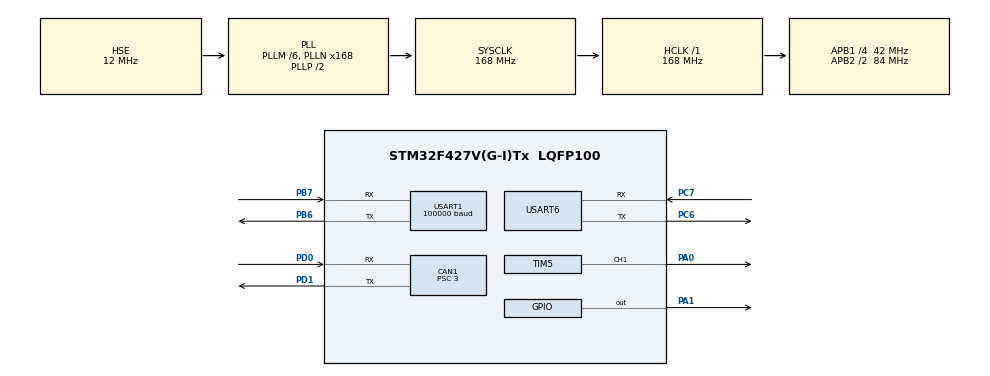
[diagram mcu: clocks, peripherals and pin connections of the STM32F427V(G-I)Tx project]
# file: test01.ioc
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CAN1.ABOM=ENABLE
CAN1.BS1=CAN_BS1_9TQ
CAN1.BS2=CAN_BS2_4TQ
CAN1.CalculateTimeQuantum=71.42857142857143
CAN1.Prescaler=3
Dma.Request0=USART6_RX
Dma.Request1=USART6_TX
Dma.Request2=USART1_RX
Dma.Request3=USART1_TX
Dma.USART1_RX.2.Direction=DMA_PERIPH_TO_MEMORY
Dma.USART1_RX.2.FIFOMode=DMA_FIFOMODE_DISABLE
Dma.USART1_RX.2.Instance=DMA2_Stream2
Dma.USART1_RX.2.MemDataAlignment=DMA_MDATAALIGN_BYTE
Dma.USART1_RX.2.MemInc=DMA_MINC_ENABLE
Dma.USART1_RX.2.Mode=DMA_CIRCULAR
Dma.USART1_RX.2.PeriphDataAlignment=DMA_PDATAALIGN_BYTE
Dma.USART1_RX.2.PeriphInc=DMA_PINC_DISABLE
Dma.USART1_RX.2.Priority=DMA_PRIORITY_LOW
Dma.USART1_TX.3.Direction=DMA_MEMORY_TO_PERIPH
Dma.USART1_TX.3.FIFOMode=DMA_FIFOMODE_DISABLE
Dma.USART1_TX.3.Instance=DMA2_Stream7
Dma.USART1_TX.3.MemDataAlignment=DMA_MDATAALIGN_BYTE
Dma.USART1_TX.3.MemInc=DMA_MINC_ENABLE
Dma.USART1_TX.3.Mode=DMA_CIRCULAR
Dma.USART1_TX.3.PeriphDataAlignment=DMA_PDATAALIGN_BYTE
Dma.USART1_TX.3.PeriphInc=DMA_PINC_DISABLE
Dma.USART1_TX.3.Priority=DMA_PRIORITY_LOW
Dma.USART6_RX.0.Direction=DMA_PERIPH_TO_MEMORY
Dma.USART6_RX.0.FIFOMode=DMA_FIFOMODE_DISABLE
Dma.USART6_RX.0.Instance=DMA2_Stream1
Dma.USART6_RX.0.MemDataAlignment=DMA_MDATAALIGN_BYTE
Dma.USART6_RX.0.MemInc=DMA_MINC_ENABLE
Dma.USART6_RX.0.Mode=DMA_NORMAL
Dma.USART6_RX.0.PeriphDataAlignment=DMA_PDATAALIGN_BYTE
Dma.USART6_RX.0.PeriphInc=DMA_PINC_DISABLE
Dma.USART6_RX.0.Priority=DMA_PRIORITY_LOW
Dma.USART6_TX.1.Direction=DMA_MEMORY_TO_PERIPH
Dma.USART6_TX.1.FIFOMode=DMA_FIFOMODE_DISABLE
Dma.USART6_TX.1.Instance=DMA2_Stream6
Dma.USART6_TX.1.MemDataAlignment=DMA_MDATAALIGN_BYTE
Dma.USART6_TX.1.MemInc=DMA_MINC_ENABLE
Dma.USART6_TX.1.Mode=DMA_NORMAL
Dma.USART6_TX.1.PeriphDataAlignment=DMA_PDATAALIGN_BYTE
Dma.USART6_TX.1.PeriphInc=DMA_PINC_DISABLE
Dma.USART6_TX.1.Priority=DMA_PRIORITY_LOW
Mcu.Family=STM32F4
Mcu.Name=STM32F427V(G-I)Tx
Mcu.Package=LQFP100
NVIC.CAN1_RX0_IRQn=true\:0\:0\:false\:false\:true\:true\:true
NVIC.CAN1_TX_IRQn=true\:0\:0\:false\:false\:true\:true\:true
NVIC.DMA2_Stream1_IRQn=true\:0\:0\:false\:false\:true\:false\:true
NVIC.DMA2_Stream2_IRQn=true\:0\:0\:false\:false\:true\:false\:true
NVIC.DMA2_Stream6_IRQn=true\:0\:0\:false\:false\:true\:false\:true
NVIC.DMA2_Stream7_IRQn=true\:0\:0\:false\:false\:true\:false\:true
NVIC.PriorityGroup=NVIC_PRIORITYGROUP_4
NVIC.TIM1_UP_TIM10_IRQn=true\:0\:0\:false\:false\:true\:true\:true
NVIC.TIM2_IRQn=true\:0\:0\:false\:false\:true\:true\:true
NVIC.TIM4_IRQn=true\:0\:0\:false\:false\:true\:true\:true
NVIC.TIM5_IRQn=true\:0\:0\:false\:false\:true\:true\:true
NVIC.USART1_IRQn=true\:0\:0\:false\:false\:true\:true\:true
NVIC.USART6_IRQn=true\:0\:0\:false\:false\:true\:true\:true
PA0/WKUP.Signal=S_TIM5_CH1
PA1.GPIO_ModeDefaultOutputPP=GPIO_MODE_OUTPUT_PP
PA1.GPIO_PuPd=GPIO_PULLUP
PA1.GPIO_Speed=GPIO_SPEED_FREQ_HIGH
PA1.PinState=GPIO_PIN_SET
PA1.Signal=GPIO_Output
PA13.Mode=Serial_Wire
PA13.Signal=SYS_JTMS-SWDIO
PA14.Mode=Serial_Wire
PA14.Signal=SYS_JTCK-SWCLK
PB6.Mode=Asynchronous
PB6.Signal=USART1_TX
PB7.Mode=Asynchronous
PB7.Signal=USART1_RX
PC14/OSC32_IN.Mode=LSE-External-Oscillator
PC14/OSC32_IN.Signal=RCC_OSC32_IN
PC15/OSC32_OUT.Mode=LSE-External-Oscillator
PC15/OSC32_OUT.Signal=RCC_OSC32_OUT
PC6.Mode=Asynchronous
PC6.Signal=USART6_TX
PC7.Mode=Asynchronous
PC7.Signal=USART6_RX
PD0.Mode=Master
PD0.Signal=CAN1_RX
PD1.Mode=Master
PD1.Signal=CAN1_TX
PH0/OSC_IN.Mode=HSE-External-Oscillator
PH0/OSC_IN.Signal=RCC_OSC_IN
PH1/OSC_OUT.Mode=HSE-External-Oscillator
PH1/OSC_OUT.Signal=RCC_OSC_OUT
ProjectManager.HeapSize=0x200
ProjectManager.StackSize=0x400
ProjectManager.TargetToolchain=MDK-ARM V5.27
RCC.48MHZClocksFreq_Value=84000000
RCC.AHBFreq_Value=168000000
RCC.APB1CLKDivider=RCC_HCLK_DIV4
RCC.APB1Freq_Value=42000000
RCC.APB1TimFreq_Value=84000000
RCC.APB2CLKDivider=RCC_HCLK_DIV2
RCC.APB2Freq_Value=84000000
RCC.APB2TimFreq_Value=168000000
RCC.CortexFreq_Value=168000000
RCC.HCLKFreq_Value=168000000
RCC.HSE_VALUE=12000000
RCC.HSI_VALUE=16000000
RCC.PLLM=6
RCC.PLLN=168
RCC.PLLSourceVirtual=RCC_PLLSOURCE_HSE
RCC.SYSCLKFreq_VALUE=168000000
RCC.SYSCLKSource=RCC_SYSCLKSOURCE_PLLCLK
RCC.VCOOutputFreq_Value=336000000
SH.S_TIM5_CH1.0=TIM5_CH1,PWM Generation1 CH1
TIM1.AutoReloadPreload=TIM_AUTORELOAD_PRELOAD_DISABLE
TIM1.Period=8899
TIM1.Prescaler=99
TIM1.RepetitionCounter=0
TIM2.Period=999
TIM2.Prescaler=83
TIM4.Period=4999
TIM4.Prescaler=71
TIM5.AutoReloadPreload=TIM_AUTORELOAD_PRELOAD_ENABLE
TIM5.Channel-PWM\ Generation1\ CH1=TIM_CHANNEL_1
TIM5.Period=4999
TIM5.Prescaler=71
USART1.BaudRate=100000
USART1.Parity=PARITY_EVEN
USART1.VirtualMode=VM_ASYNC
USART6.VirtualMode=VM_ASYNC
VP_TIM1_VS_ClockSourceINT.Mode=Internal
VP_TIM2_VS_ClockSourceINT.Mode=Internal
VP_TIM4_VS_ClockSourceINT.Mode=Internal
VP_TIM5_VS_ClockSourceINT.Mode=Internal
board=custom

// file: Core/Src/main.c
/* USER CODE BEGIN Header */
/**
  ******************************************************************************
  * @file           : main.c
  * @brief          : Main program body
  ******************************************************************************
  * @attention
  *
  * <h2><center>&copy; Copyright (c) 2021 STMicroelectronics.
  * All rights reserved.</center></h2>
  *
  * This software component is licensed by ST under BSD 3-Clause license,
  * the "License"; You may not use this file except in compliance with the
  * License. You may obtain a copy of the License at:
  *                        opensource.org/licenses/BSD-3-Clause
  *
  ******************************************************************************
  */
/* USER CODE END Header */
#include "main.h"
#include "can.h"
#include "dma.h"
#include "tim.h"
#include "usart.h"
#include "gpio.h"

/* USER CODE BEGIN PTD */
//extern CAN_Struct CAN_DATA;
extern CAN_Struct Send_CAN_DATA;//发送数据的结构体
extern moto_measure_t moto_chassis[7];//电机的数据结构体
int arr[20];
float KP1,KI1,KD1,KP2,KI2,KD2,KP3,KI3,KD3 = 0 ;
uint8_t Len;
/* USER CODE END PTD */

void SystemClock_Config(void);

/* USER CODE BEGIN 0 */

uint8_t message = 0;
/* USER CODE END 0 */

int main(void)
{
  /* USER CODE BEGIN 1 */
//  uint8_t len;
//  uint16_t times = 0;
	float Angle = 0;
  /* USER CODE END 1 */

  /* MCU Configuration--------------------------------------------------------*/

  /* Reset of all peripherals, Initializes the Flash interface and the Systick. */
  HAL_Init();

  /* Configure the system clock */
  SystemClock_Config();

  /* Initialize all configured peripherals */
  MX_GPIO_Init();
  MX_DMA_Init();
  MX_CAN1_Init();
  MX_TIM1_Init();
  MX_USART6_UART_Init();
  MX_TIM2_Init();
  MX_USART1_UART_Init();
  MX_TIM4_Init();
  MX_TIM5_Init();
  /* USER CODE BEGIN 2 */

  can_filter_init(CAN_FilterConfigStructure); //配置CAN过滤器
  HAL_CAN_Start(&hcan1);//启动can1
  __HAL_CAN_ENABLE_IT(&hcan1,CAN_IT_RX_FIFO0_MSG_PENDING);//使能can1的rx0接收中断  之前是邮箱满了就进入中断，这里是一旦接收到新的数据就进入中断

  __HAL_UART_ENABLE(&huart6);//串口6的使能
  __HAL_UART_ENABLE_IT(&huart6,UART_IT_RXNE);//使能接收中断功能

  HAL_TIM_Base_Init (&htim1);
  __HAL_TIM_ENABLE_IT(&htim1,TIM_IT_UPDATE);
  HAL_TIM_Base_Start_IT(&htim1);

    HAL_TIM_Base_Init (&htim2);
  __HAL_TIM_ENABLE_IT(&htim2,TIM_IT_UPDATE);
  HAL_TIM_Base_Start_IT(&htim2);

  HAL_TIM_Base_Init (&htim4);
  __HAL_TIM_ENABLE_IT(&htim4,TIM_IT_UPDATE);
  HAL_TIM_Base_Start_IT(&htim4);

  HAL_TIM_Base_Init (&htim5);
  __HAL_TIM_ENABLE_IT(&htim5,TIM_IT_UPDATE);
  HAL_TIM_Base_Start_IT(&htim5);
  HAL_TIM_PWM_Start(&htim5,TIM_CHANNEL_1);
  Stepper_setInfo();
  Ano_Init();
  usart1_dr16_init();
//HAL_UART_Receive_IT(&huart6,&message,sizeof(message));
  __HAL_TIM_SetCompare(&htim5, TIM_CHANNEL_1,1);
  USART6->DR = '1';
  /* USER CODE END 2 */

  /* Infinite loop */
  /* USER CODE BEGIN WHILE */
  while (1)
  {
//	  		HAL_GPIO_WritePin(GPIOA, GPIO_PIN_1, GPIO_PIN_SET);
     //htim4.Init.Period = DR16.rc.ch3 * 10;
     Angle = DR16.rc.ch3/10;
	 Stepper_setAngle(&Angle);
//    ANODT_SendF1(0,0,0);
//	HAL_Delay(10);
//       if(USART_RX_STA&0x8000)
//		{
//			len=USART_RX_STA&0x3fff;//得到此次接收到的数据长度
//			//printf("\r\n您发送的消息为:\r\n");
//            HAL_UART_Transmit(&huart6,(uint8_t*)USART_RX_BUF,len,1000);	//发送接收到的数据
//			Len = len;
//			while(__HAL_UART_GET_FLAG(&huart6,UART_FLAG_TC)!=SET);		//等待发送结束
//			//printf("\r\n\r\n");//插入换行
//			USART_RX_STA=0;
//		}

//	HAL_UART_Transmit_IT(&huart6,&message,1);
//	HAL_UART_Receive_IT(&huart6,&message,1);

    /* USER CODE END WHILE */

  }
}

void SystemClock_Config(void)
{
  RCC_OscInitTypeDef RCC_OscInitStruct = {0};
  RCC_ClkInitTypeDef RCC_ClkInitStruct = {0};

  /** Configure the main internal regulator output voltage
  */
  __HAL_RCC_PWR_CLK_ENABLE();
  __HAL_PWR_VOLTAGESCALING_CONFIG(PWR_REGULATOR_VOLTAGE_SCALE1);
  /** Initializes the RCC Oscillators according to the specified parameters
  * in the RCC_OscInitTypeDef structure.
  */
  RCC_OscInitStruct.OscillatorType = RCC_OSCILLATORTYPE_HSE;
  RCC_OscInitStruct.HSEState = RCC_HSE_ON;
  RCC_OscInitStruct.PLL.PLLState = RCC_PLL_ON;
  RCC_OscInitStruct.PLL.PLLSource = RCC_PLLSOURCE_HSE;
  RCC_OscInitStruct.PLL.PLLM = 6;
  RCC_OscInitStruct.PLL.PLLN = 168;
  RCC_OscInitStruct.PLL.PLLP = RCC_PLLP_DIV2;
  RCC_OscInitStruct.PLL.PLLQ = 4;
  if (HAL_RCC_OscConfig(&RCC_OscInitStruct) != HAL_OK)
  {
    Error_Handler();
  }
  /** Initializes the CPU, AHB and APB buses clocks
  */
  RCC_ClkInitStruct.ClockType = RCC_CLOCKTYPE_HCLK|RCC_CLOCKTYPE_SYSCLK
                              |RCC_CLOCKTYPE_PCLK1|RCC_CLOCKTYPE_PCLK2;
  RCC_ClkInitStruct.SYSCLKSource = RCC_SYSCLKSOURCE_PLLCLK;
  RCC_ClkInitStruct.AHBCLKDivider = RCC_SYSCLK_DIV1;
  RCC_ClkInitStruct.APB1CLKDivider = RCC_HCLK_DIV4;
  RCC_ClkInitStruct.APB2CLKDivider = RCC_HCLK_DIV2;

  if (HAL_RCC_ClockConfig(&RCC_ClkInitStruct, FLASH_LATENCY_5) != HAL_OK)
  {
    Error_Handler();
  }
}

void Error_Handler(void)
{
}

/************************ (C) COPYRIGHT STMicroelectronics *****END OF FILE****/
